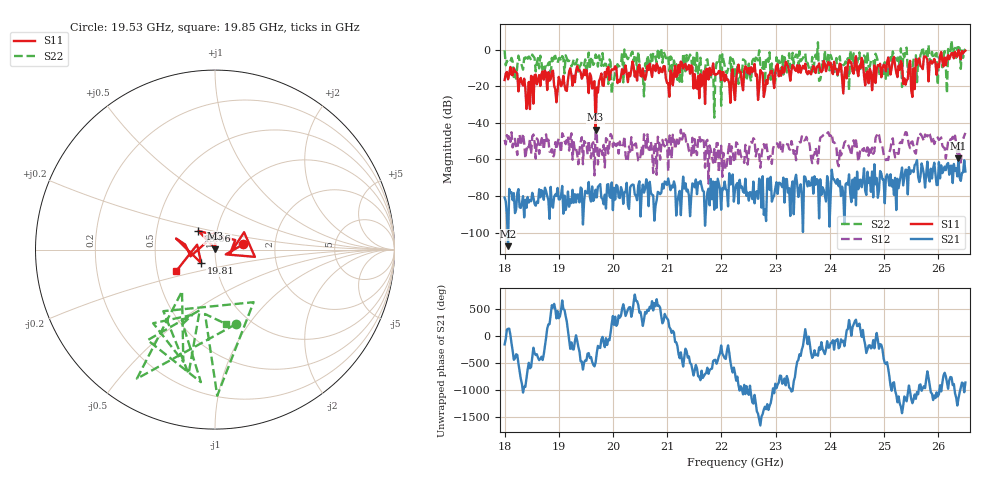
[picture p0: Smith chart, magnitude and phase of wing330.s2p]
!Keysight Technologies,N5242B,MY47200105,A.14.00.23
!Date: Friday, May 10, 2024 11:18:27
!Correction: S11(C  2-Port  )
!S21(C  2-Port  )
!S12(C  2-Port  )
!S22(C  2-Port  )
!S2P File: Measurement: :
# Hz S  RI  R 50
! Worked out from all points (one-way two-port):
!   401 points, 18 GHz to 26.5 GHz, reference 50 ohm
!   highest |S21| = -59.30 dB at 26.37 GHz (marker M1); lowest = -107.4 dB at 18.06 GHz (marker M2)
!   lowest |S11| = -43.7 dB at 19.68 GHz (marker M3), VSWR 1.01, Z = 50.2 + j0.61 ohm
!   |S11| at or under -10 dB: 18.11 GHz to 19.33 GHz (1.221 GHz wide, 6.52 % of centre); 19.35 GHz to 19.9 GHz (550.7 MHz wide, 2.81 % of centre); 21.86 GHz to 22.3 GHz (444.4 MHz wide, 2.01 % of centre) (the widest 3 of 57)
!   |S22| runs from -37.1 to 5.1 dB; largest |S21 - S12| = 0.0066
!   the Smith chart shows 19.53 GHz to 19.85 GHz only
!   S11 on the Smith chart (normalised r, x): 19.53 GHz: 1.37, +0.08; 19.66 GHz: 0.81, +0.17; 19.81 GHz: 0.85, -0.13; 19.85 GHz: 0.63, -0.16
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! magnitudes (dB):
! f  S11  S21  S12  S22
! 18 GHz  -16.5  -80.8  -49.3  -0.3
! 18.06 GHz  -16.2  -107.4  -48.6  -6.9
! 18.43 GHz  -28.6  -80.5  -52.0  -4.9
! 19.42 GHz  -15.8  -76.0  -47.8  -6.5
! 19.53 GHz  -15.9  -78.5  -57.2  -7.3
! 19.66 GHz  -17.1  -81.0  -68.7  -6.9
! 19.68 GHz  -43.7  -76.5  -44.5  -2.6
! 19.81 GHz  -19.4  -81.5  -57.6  -1.8
! 19.85 GHz  -12.2  -79.2  -64.4  -7.6
! 20.55 GHz  -10.2  -73.8  -58.2  -13.8
! 20.85 GHz  -12.7  -78.2  -49.3  -4.5
! 21.23 GHz  -12.6  -77.2  -49.1  -17.4
! 21.4 GHz  -8.4  -79.7  -55.2  -4.2
! 21.85 GHz  -7.4  -72.1  -61.7  -9.0
! 22.25 GHz  -27.5  -76.5  -61.1  -16.0
! 23.67 GHz  -10.8  -69.9  -62.0  -3.9
! 23.93 GHz  -11.7  -83.0  -46.6  -10.7
! 24.18 GHz  -7.6  -71.8  -54.1  -3.6
! 25.1 GHz  -9.0  -74.3  -56.2  -6.2
! 25.52 GHz  -25.8  -66.1  -50.1  -10.1
! 26.37 GHz  -0.1  -59.3  -54.5  1.5
! 26.5 GHz  -0.5  -66.6  -45.4  0.4
